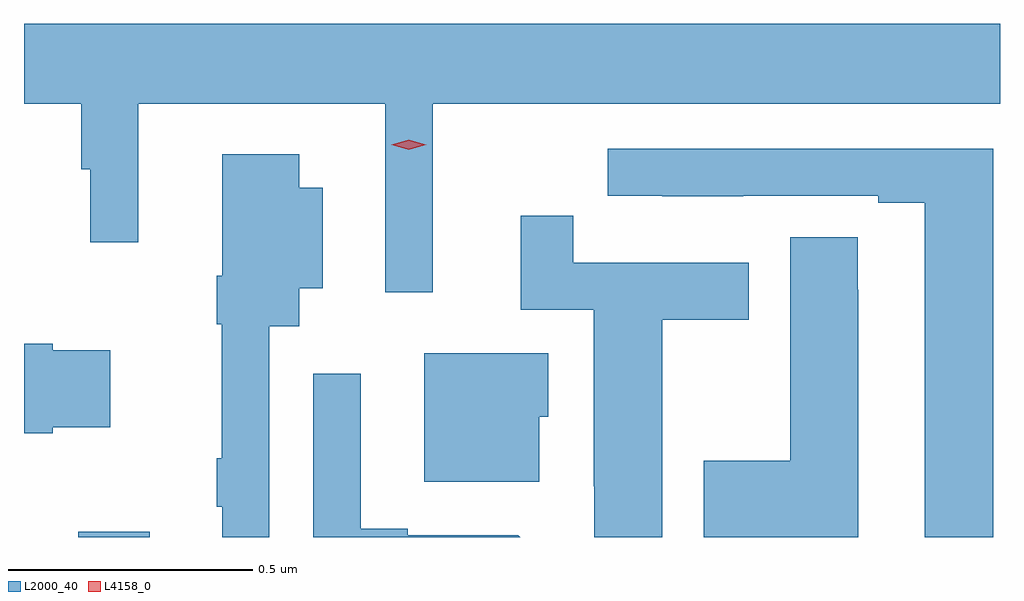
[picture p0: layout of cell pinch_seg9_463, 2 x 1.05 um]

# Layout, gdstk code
import gdstk
lib = gdstk.Library(unit=1e-6, precision=1e-09)
def R(c, l, rs):  # rectangles x0, y0, x1, y1
    for r in rs: c.add(gdstk.rectangle(r[:2], r[2:], *l))
def P(c, l, *ps):  # polygons
    for p in ps: c.add(gdstk.Polygon(p, *l))
L2000_40 = (2000, 40)
L4158_0 = (4158, 0)

pinch_seg9_463 = lib.new_cell('pinch_seg9_463')
R(pinch_seg9_463, L2000_40, [(141.673,1175.552,141.82,1175.563)])
P(pinch_seg9_463, L2000_40, [(142.4,1176.44),(143.562,1176.44),(143.562,1176.604),(141.562,1176.604),(141.562,1176.44),(141.679,1176.44),(141.679,1176.306),(141.698,1176.306),(141.698,1176.156),(141.796,1176.156),(141.796,1176.44),(142.302,1176.44),(142.302,1176.054),(142.4,1176.054)],
  [(143.548,1176.348),(142.758,1176.348),(142.758,1176.252),(142.87,1176.252),(142.87,1176.251),(143.036,1176.251),(143.036,1176.252),(143.312,1176.252),(143.312,1176.237),(143.408,1176.237),(143.408,1175.552),(143.548,1175.552)],
  [(142.065,1175.984),(142.126,1175.984),(142.126,1176.062),(142.174,1176.062),(142.174,1176.268),(142.126,1176.268),(142.126,1176.337),(141.968,1176.337),(141.968,1176.088),(141.957,1176.088),(141.957,1175.988),(141.967,1175.988),(141.967,1175.714),(141.957,1175.714),(141.957,1175.614),(141.968,1175.614),(141.968,1175.552),(142.065,1175.552)],
  [(142.87,1175.998),(143.047,1175.998),(143.047,1176.114),(142.688,1176.114),(142.688,1176.211),(142.58,1176.211),(142.58,1176.018),(142.73,1176.018),(142.73,1175.656),(142.731,1175.656),(142.731,1175.552),(142.87,1175.552)],
  [(143.272,1176.059),(143.271,1176.059),(143.271,1176.167),(143.132,1176.167),(143.132,1175.709),(142.955,1175.709),(142.955,1175.552),(143.272,1175.552)],
  [(141.621,1175.777),(141.739,1175.777),(141.739,1175.935),(141.621,1175.935),(141.621,1175.948),(141.562,1175.948),(141.562,1175.765),(141.621,1175.765)],
  [(142.618,1175.799),(142.636,1175.799),(142.636,1175.929),(142.382,1175.929),(142.382,1175.666),(142.618,1175.666)],
  [(142.575,1175.556),(142.348,1175.556),(142.348,1175.569),(142.252,1175.569),(142.252,1175.887),(142.155,1175.887),(142.155,1175.552),(142.579,1175.552)])
P(pinch_seg9_463, L4158_0, [(142.35,1176.346),(142.315,1176.356),(142.315,1176.356),(142.315,1176.356),(142.35,1176.366),(142.386,1176.356),(142.386,1176.356),(142.386,1176.356)])

lib.write_gds('pinch_seg9_463.gds')
